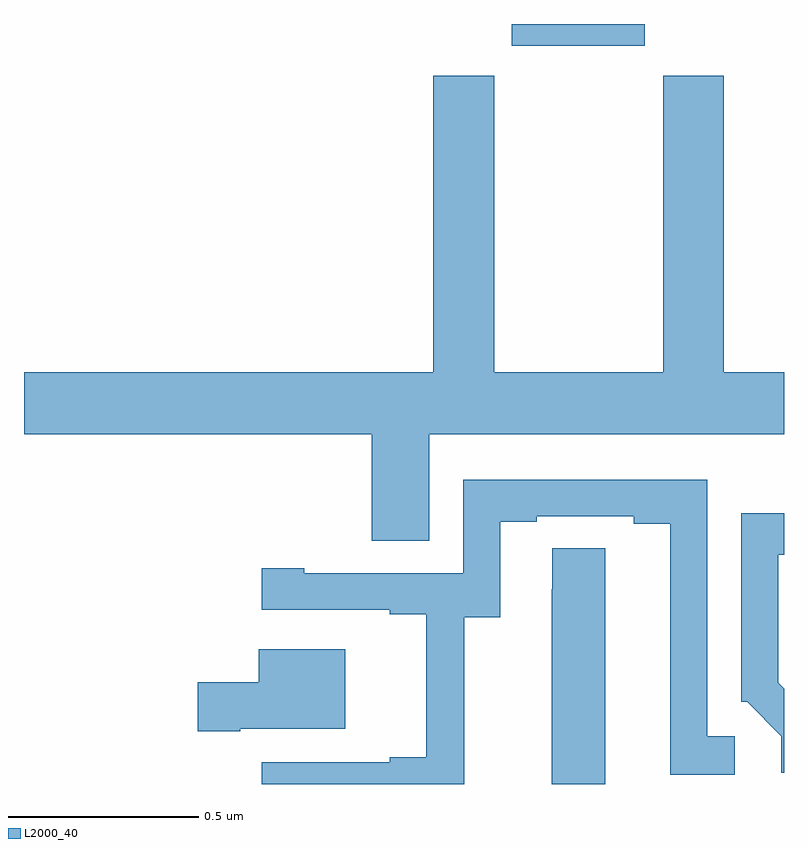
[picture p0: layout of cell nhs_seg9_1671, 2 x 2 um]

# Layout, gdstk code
import gdstk
lib = gdstk.Library(unit=1e-6, precision=1e-09)
def R(c, l, rs):  # rectangles x0, y0, x1, y1
    for r in rs: c.add(gdstk.rectangle(r[:2], r[2:], *l))
def P(c, l, *ps):  # polygons
    for p in ps: c.add(gdstk.Polygon(p, *l))
L2000_40 = (2000, 40)

nhs_seg9_1671 = lib.new_cell('nhs_seg9_1671')
R(nhs_seg9_1671, L2000_40, [(132.284,1197.443,132.634,1197.5)])
P(nhs_seg9_1671, L2000_40, [(132.682,1197.364),(132.682,1196.584),(132.237,1196.584),(132.237,1197.364),(132.077,1197.364),(132.077,1196.584),(131,1196.584),(131,1196.42),(131.915,1196.42),(131.915,1196.14),(132.067,1196.14),(132.067,1196.42),(133,1196.42),(133,1196.584),(132.842,1196.584),(132.842,1197.364)],
  [(132.159,1195.939),(132.253,1195.939),(132.253,1196.19),(132.349,1196.19),(132.349,1196.205),(132.605,1196.205),(132.605,1196.185),(132.701,1196.185),(132.701,1195.525),(132.871,1195.525),(132.871,1195.626),(132.798,1195.626),(132.798,1196.301),(132.156,1196.301),(132.156,1196.055),(131.737,1196.055),(131.737,1196.068),(131.625,1196.068),(131.625,1195.959),(131.963,1195.959),(131.963,1195.947),(132.059,1195.947),(132.059,1195.57),(131.963,1195.57),(131.963,1195.557),(131.625,1195.557),(131.625,1195.5),(132.159,1195.5)],
  [(133,1195.751),(132.985,1195.766),(132.985,1196.103),(133,1196.103),(133,1196.213),(132.888,1196.213),(132.888,1195.716),(132.903,1195.716),(132.993,1195.626),(132.993,1195.53),(133,1195.53)],
  [(132.529,1196.12),(132.39,1196.12),(132.39,1196.012),(132.389,1196.012),(132.389,1195.5),(132.529,1195.5)],
  [(131.569,1195.646),(131.845,1195.646),(131.845,1195.855),(131.618,1195.855),(131.618,1195.768),(131.457,1195.768),(131.457,1195.639),(131.569,1195.639)])

lib.write_gds('nhs_seg9_1671.gds')
